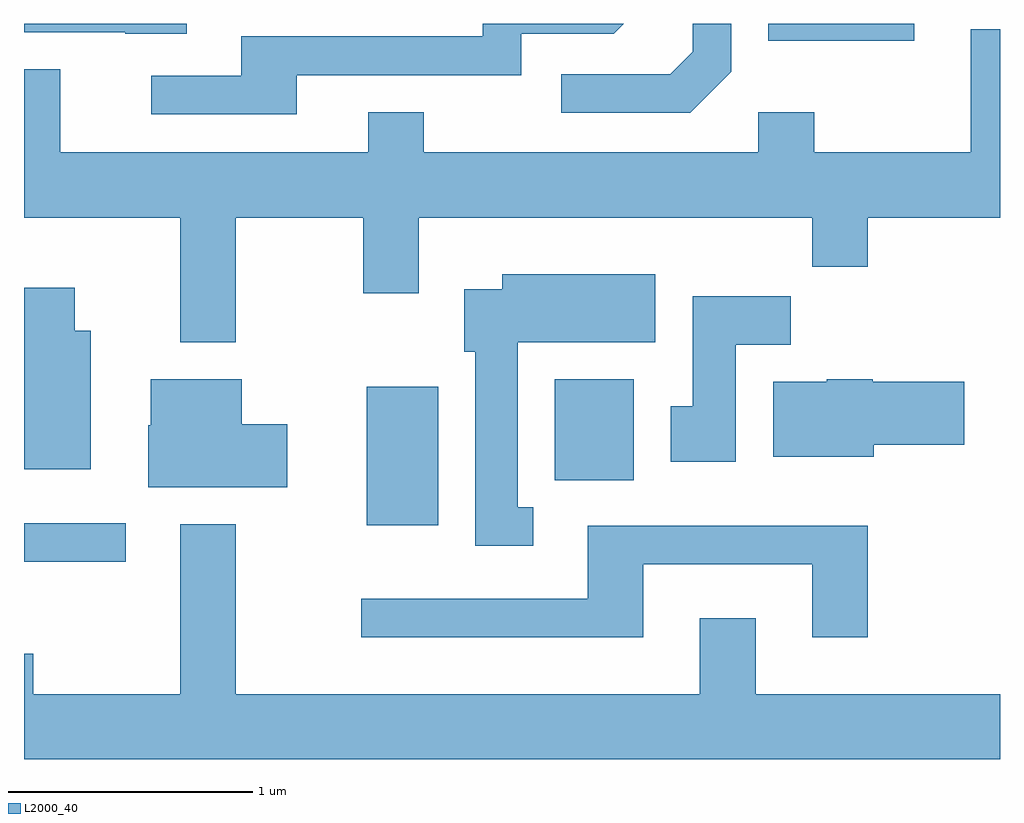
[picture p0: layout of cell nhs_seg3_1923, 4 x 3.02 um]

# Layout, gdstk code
import gdstk
lib = gdstk.Library(unit=1e-6, precision=1e-09)
def R(c, l, rs):  # rectangles x0, y0, x1, y1
    for r in rs: c.add(gdstk.rectangle(r[:2], r[2:], *l))
def P(c, l, *ps):  # polygons
    for p in ps: c.add(gdstk.Polygon(p, *l))
L2000_40 = (2000, 40)

nhs_seg3_1923 = lib.new_cell('nhs_seg3_1923')
R(nhs_seg3_1923, L2000_40, [(241.611,1155.686,242.028,1155.844), (243.016,1155.836,243.309,1156.404), (243.786,1156.021,244.109,1156.434), (244.661,1157.821,245.259,1157.892)])
P(nhs_seg3_1923, L2000_40, [(242.729,1157.681),(243.649,1157.681),(243.649,1157.851),(244.027,1157.851),(244.068,1157.892),(243.491,1157.892),(243.491,1157.839),(242.501,1157.839),(242.501,1157.679),(242.133,1157.679),(242.133,1157.521),(242.729,1157.521)],
  [(242.279,1157.892),(241.611,1157.892),(241.611,1157.856),(242.025,1157.856),(242.025,1157.851),(242.279,1157.851)],
  [(244.509,1157.694),(244.509,1157.892),(244.351,1157.892),(244.351,1157.777),(244.259,1157.684),(243.813,1157.684),(243.813,1157.526),(244.342,1157.526)],
  [(242.479,1157.096),(243.001,1157.096),(243.001,1156.786),(243.229,1156.786),(243.229,1157.096),(244.841,1157.096),(244.841,1156.896),(245.069,1156.896),(245.069,1157.096),(245.611,1157.096),(245.611,1157.869),(245.491,1157.869),(245.491,1157.364),(244.849,1157.364),(244.849,1157.529),(244.621,1157.529),(244.621,1157.364),(243.249,1157.364),(243.249,1157.529),(243.021,1157.529),(243.021,1157.364),(241.759,1157.364),(241.759,1157.704),(241.611,1157.704),(241.611,1157.096),(242.251,1157.096),(242.251,1156.586),(242.479,1156.586)],
  [(243.698,1155.909),(243.634,1155.909),(243.634,1156.586),(244.199,1156.586),(244.199,1156.864),(243.571,1156.864),(243.571,1156.804),(243.416,1156.804),(243.416,1156.546),(243.461,1156.546),(243.461,1155.751),(243.698,1155.751)],
  [(241.884,1156.634),(241.819,1156.634),(241.819,1156.809),(241.611,1156.809),(241.611,1156.066),(241.884,1156.066)],
  [(244.529,1156.576),(244.754,1156.576),(244.754,1156.774),(244.351,1156.774),(244.351,1156.324),(244.261,1156.324),(244.261,1156.096),(244.529,1156.096)],
  [(242.689,1156.249),(242.504,1156.249),(242.504,1156.434),(242.131,1156.434),(242.131,1156.245),(242.121,1156.245),(242.121,1155.991),(242.689,1155.991)],
  [(245.094,1156.166),(245.464,1156.166),(245.464,1156.424),(245.09,1156.424),(245.09,1156.434),(244.9,1156.434),(244.9,1156.424),(244.681,1156.424),(244.681,1156.116),(245.094,1156.116)],
  [(245.611,1155.144),(244.609,1155.144),(244.609,1155.454),(244.381,1155.454),(244.381,1155.144),(242.479,1155.144),(242.479,1155.839),(242.251,1155.839),(242.251,1155.144),(241.649,1155.144),(241.649,1155.309),(241.611,1155.309),(241.611,1154.876),(245.611,1154.876)],
  [(244.149,1155.676),(244.841,1155.676),(244.841,1155.376),(245.069,1155.376),(245.069,1155.834),(243.921,1155.834),(243.921,1155.534),(242.993,1155.534),(242.993,1155.376),(244.149,1155.376)])

lib.write_gds('nhs_seg3_1923.gds')
